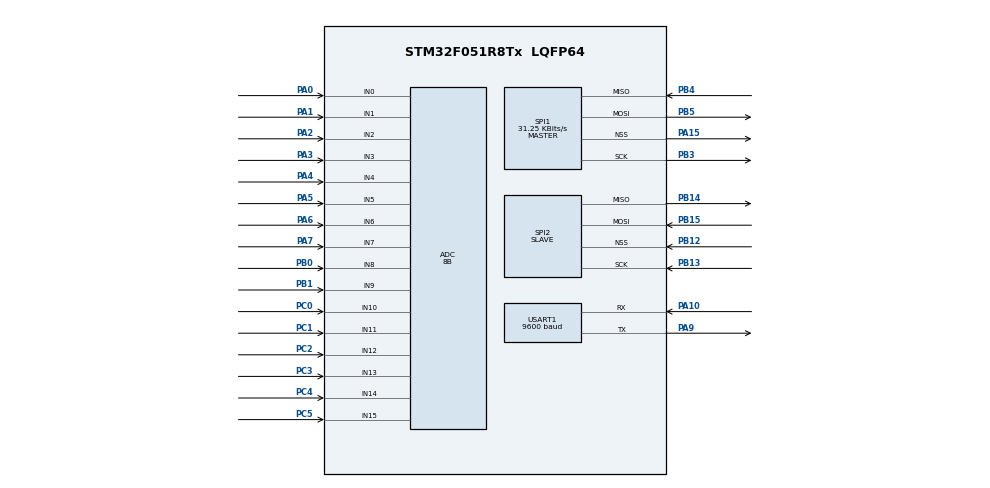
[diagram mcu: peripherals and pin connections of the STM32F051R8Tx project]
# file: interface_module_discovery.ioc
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ADC.ClockPrescaler=ADC_CLOCK_ASYNC_DIV1
ADC.ContinuousConvMode=ENABLE
ADC.DMAContinuousRequests=ENABLE
ADC.DataAlign=ADC_DATAALIGN_RIGHT
ADC.DiscontinuousConvMode=DISABLE
ADC.EOCSelection=ADC_EOC_SINGLE_CONV
ADC.EnableAnalogWatchDog=false
ADC.ExternalTrigConv=ADC_SOFTWARE_START
ADC.ExternalTrigConvEdge=ADC_EXTERNALTRIGCONVEDGE_NONE
ADC.LowPowerAutoPowerOff=DISABLE
ADC.LowPowerAutoWait=DISABLE
ADC.Overrun=ADC_OVR_DATA_PRESERVED
ADC.Resolution=ADC_RESOLUTION_8B
ADC.SamplingTime=ADC_SAMPLETIME_71CYCLES_5
ADC.ScanConvMode=ADC_SCAN_DIRECTION_FORWARD
Dma.ADC.0.Direction=DMA_PERIPH_TO_MEMORY
Dma.ADC.0.Instance=DMA1_Channel1
Dma.ADC.0.MemDataAlignment=DMA_MDATAALIGN_BYTE
Dma.ADC.0.MemInc=DMA_MINC_ENABLE
Dma.ADC.0.Mode=DMA_CIRCULAR
Dma.ADC.0.PeriphDataAlignment=DMA_PDATAALIGN_BYTE
Dma.ADC.0.PeriphInc=DMA_PINC_DISABLE
Dma.ADC.0.Priority=DMA_PRIORITY_HIGH
Dma.Request0=ADC
Dma.Request1=SPI2_RX
Dma.SPI2_RX.1.Direction=DMA_PERIPH_TO_MEMORY
Dma.SPI2_RX.1.Instance=DMA1_Channel4
Dma.SPI2_RX.1.MemDataAlignment=DMA_MDATAALIGN_BYTE
Dma.SPI2_RX.1.MemInc=DMA_MINC_ENABLE
Dma.SPI2_RX.1.Mode=DMA_NORMAL
Dma.SPI2_RX.1.PeriphDataAlignment=DMA_PDATAALIGN_BYTE
Dma.SPI2_RX.1.PeriphInc=DMA_PINC_DISABLE
Dma.SPI2_RX.1.Priority=DMA_PRIORITY_HIGH
Mcu.Family=STM32F0
Mcu.Name=STM32F051R8Tx
Mcu.Package=LQFP64
NVIC.ADC1_COMP_IRQn=true\:1\:0\:true\:false\:true\:true
NVIC.DMA1_Channel1_IRQn=true\:0\:0\:false\:false\:true\:false
NVIC.DMA1_Channel4_5_IRQn=true\:0\:0\:false\:false\:true\:false
NVIC.SPI1_IRQn=true\:0\:0\:false\:false\:true\:true
NVIC.SPI2_IRQn=true\:0\:0\:false\:false\:true\:true
PA0.Mode=IN0
PA0.Signal=ADC_IN0
PA1.Mode=IN1
PA1.Signal=ADC_IN1
PA10.Mode=Asynchronous
PA10.Signal=USART1_RX
PA15.Mode=NSS_Signal_Hard_Output
PA15.Signal=SPI1_NSS
PA2.Mode=IN2
PA2.Signal=ADC_IN2
PA3.Mode=IN3
PA3.Signal=ADC_IN3
PA4.Mode=IN4
PA4.Signal=ADC_IN4
PA5.Mode=IN5
PA5.Signal=ADC_IN5
PA6.Mode=IN6
PA6.Signal=ADC_IN6
PA7.Mode=IN7
PA7.Signal=ADC_IN7
PA9.Mode=Asynchronous
PA9.Signal=USART1_TX
PB0.Mode=IN8
PB0.Signal=ADC_IN8
PB1.Mode=IN9
PB1.Signal=ADC_IN9
PB12.Mode=NSS_Signal_Hard_Input
PB12.Signal=SPI2_NSS
PB13.Mode=Full_Duplex_Slave
PB13.Signal=SPI2_SCK
PB14.Mode=Full_Duplex_Slave
PB14.Signal=SPI2_MISO
PB15.Mode=Full_Duplex_Slave
PB15.Signal=SPI2_MOSI
PB3.Mode=Full_Duplex_Master
PB3.Signal=SPI1_SCK
PB4.Mode=Full_Duplex_Master
PB4.Signal=SPI1_MISO
PB5.Mode=Full_Duplex_Master
PB5.Signal=SPI1_MOSI
PC0.Mode=IN10
PC0.Signal=ADC_IN10
PC1.Mode=IN11
PC1.Signal=ADC_IN11
PC2.Mode=IN12
PC2.Signal=ADC_IN12
PC3.Mode=IN13
PC3.Signal=ADC_IN13
PC4.Mode=IN14
PC4.Signal=ADC_IN14
PC5.Mode=IN15
PC5.Signal=ADC_IN15
ProjectManager.HeapSize=0x200
ProjectManager.StackSize=0x400
ProjectManager.TargetToolchain=MDK-ARM V5
SPI1.BaudRatePrescaler=SPI_BAUDRATEPRESCALER_256
SPI1.CalculateBaudRate=31.25 KBits/s
SPI1.DataSize=SPI_DATASIZE_8BIT
SPI1.Direction=SPI_DIRECTION_2LINES
SPI1.Mode=SPI_MODE_MASTER
SPI1.TIMode=SPI_TIMODE_DISABLE
SPI1.VirtualNSS=VM_NSSHARD
SPI1.VirtualType=VM_MASTER
SPI2.DataSize=SPI_DATASIZE_8BIT
SPI2.Direction=SPI_DIRECTION_2LINES
SPI2.Mode=SPI_MODE_SLAVE
SPI2.VirtualNSS=VM_NSSHARD
SPI2.VirtualType=VM_SLAVE
USART1.BaudRate=9600
USART1.VirtualMode-Asynchronous=VM_ASYNC
board=interface_module_discovery

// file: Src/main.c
/**
  ******************************************************************************
  * File Name          : main.c
  * Description        : Main program body
  ******************************************************************************
  ** This notice applies to any and all portions of this file
  * that are not between comment pairs USER CODE BEGIN and
  * USER CODE END. Other portions of this file, whether
  * inserted by the user or by software development tools
  * are owned by their respective copyright owners.
  *
  * COPYRIGHT(c) 2017 STMicroelectronics
  *
  * Redistribution and use in source and binary forms, with or without modification,
  * are permitted provided that the following conditions are met:
  *   1. Redistributions of source code must retain the above copyright notice,
  *      this list of conditions and the following disclaimer.
  *   2. Redistributions in binary form must reproduce the above copyright notice,
  *      this list of conditions and the following disclaimer in the documentation
  *      and/or other materials provided with the distribution.
  *   3. Neither the name of STMicroelectronics nor the names of its contributors
  *      may be used to endorse or promote products derived from this software
  *      without specific prior written permission.
  *
  * THIS SOFTWARE IS PROVIDED BY THE COPYRIGHT HOLDERS AND CONTRIBUTORS "AS IS"
  * AND ANY EXPRESS OR IMPLIED WARRANTIES, INCLUDING, BUT NOT LIMITED TO, THE
  * IMPLIED WARRANTIES OF MERCHANTABILITY AND FITNESS FOR A PARTICULAR PURPOSE ARE
  * DISCLAIMED. IN NO EVENT SHALL THE COPYRIGHT HOLDER OR CONTRIBUTORS BE LIABLE
  * FOR ANY DIRECT, INDIRECT, INCIDENTAL, SPECIAL, EXEMPLARY, OR CONSEQUENTIAL
  * DAMAGES (INCLUDING, BUT NOT LIMITED TO, PROCUREMENT OF SUBSTITUTE GOODS OR
  * SERVICES; LOSS OF USE, DATA, OR PROFITS; OR BUSINESS INTERRUPTION) HOWEVER
  * CAUSED AND ON ANY THEORY OF LIABILITY, WHETHER IN CONTRACT, STRICT LIABILITY,
  * OR TORT (INCLUDING NEGLIGENCE OR OTHERWISE) ARISING IN ANY WAY OUT OF THE USE
  * OF THIS SOFTWARE, EVEN IF ADVISED OF THE POSSIBILITY OF SUCH DAMAGE.
  *
  ******************************************************************************
  */
#include "main.h"
#include "ring_buffer.h"
#include "stm32f0xx_hal.h"

/* USER CODE BEGIN Includes */
#include <stdbool.h>
#include <stdlib.h>
/* External variables --------------------------------------------------------*/

/* USER CODE END Includes */

ADC_HandleTypeDef hadc;
DMA_HandleTypeDef hdma_adc;

SPI_HandleTypeDef hspi1;
SPI_HandleTypeDef hspi2;
DMA_HandleTypeDef hdma_spi2_rx;

UART_HandleTypeDef huart1;

/* USER CODE BEGIN PV */
/* Private variables ---------------------------------------------------------*/
#define NumOfAdcChan 16 // num of scanned ADC channels
volatile uint8_t AdcDmaBuf[NumOfAdcChan] = {0};
volatile uint8_t SavedValues[NumOfAdcChan] = {0};
ring_buffer_t Slave_RxBuffer;
ring_buffer_t Master_RxBuffer;
uint8_t Master_TxBuffer[64] = {0};
uint8_t Slave_TxBuffer[64] = {0};
uint8_t Slave_RXByte = 0;
uint8_t Master_RXByte = 0;
uint8_t testBuffer[300] = {0};
/* USER CODE END PV */

void SystemClock_Config(void);
static void MX_GPIO_Init(void);
static void MX_DMA_Init(void);
static void MX_SPI1_Init(void);
static void MX_SPI2_Init(void);
static void MX_ADC_Init(void);
static void MX_USART1_UART_Init(void);

/* USER CODE BEGIN PFP */
/* Private function prototypes -----------------------------------------------*/
void HAL_ADC_ConvCpltCallback(ADC_HandleTypeDef* hadc)
{
	static bool firstRun = true;
  /* Prevent unused argument(s) compilation warning */
	if(__HAL_ADC_GET_FLAG(hadc, ADC_FLAG_EOS)){

		for(int i =0; i < NumOfAdcChan; i++){
			if(!firstRun && abs(AdcDmaBuf[i]-SavedValues[i])>2){
				//do something
			}
			SavedValues[i] = AdcDmaBuf[i];
		}
		firstRun = false;
	}
}

void HAL_SPI_TxCpltCallback(SPI_HandleTypeDef *hspi)
{
  uint8_t i = 0;
	i+=1;
}

void HAL_SPI_RxCpltCallback(SPI_HandleTypeDef *hspi)
{
	static uint8_t master_i = 0;
	static int slave_i = 0;
  char buf;
	if(hspi->Instance==SPI1){

	}else if(hspi->Instance==SPI2){
    if(ring_buffer_is_full(&Slave_RxBuffer)) {
      //oh shit
      while(ring_buffer_dequeue(&ring_buffer, &buf) > 0) {
        /* Print contents */
        testBuffer[slave_i++] = buf;
      }
    }else{
      ring_buffer_queue(&Slave_RxBuffer, Slave_RXByte);
    }
		HAL_SPI_Receive_IT(&hspi2, &Slave_RXByte, 1);
	}
}
/* USER CODE END PFP */

int main(void)
{

  /* USER CODE BEGIN 1 */
  int i = 0;

  /* USER CODE END 1 */

  /* MCU Configuration----------------------------------------------------------*/

  /* Reset of all peripherals, Initializes the Flash interface and the Systick. */
  HAL_Init();

  /* USER CODE BEGIN Init */
  ring_buffer_init(&Slave_RxBuffer);
  ring_buffer_init(&Master_RxBuffer);

  /* USER CODE END Init */

  /* Configure the system clock */
  SystemClock_Config();

  /* Initialize all configured peripherals */
  MX_GPIO_Init();
  MX_DMA_Init();
  MX_SPI1_Init();
  MX_SPI2_Init();
  MX_ADC_Init();
  MX_USART1_UART_Init();

  /* USER CODE BEGIN 2 */
	HAL_ADC_Start_DMA(&hadc,(uint32_t *)&AdcDmaBuf, NumOfAdcChan );

	HAL_SPI_Receive_IT(&hspi2, &Slave_RXByte, 1);
	//HAL_SPI_Transmit_IT(&hspi1, (uint8_t*)&Master_TxBuffer, 10);
  /* USER CODE END 2 */

  /* Infinite loop */
  /* USER CODE BEGIN WHILE */
  while (1)
  {
		HAL_Delay(100);
    Master_TxBuffer[0] = i;
    Master_TxBuffer[1] = i+1;
    i+=4;
		HAL_SPI_Transmit_IT(&hspi1, (uint8_t*)&Master_TxBuffer, 2);

  /* USER CODE END WHILE */

  }

}

/** System Clock Configuration
*/
void SystemClock_Config(void)
{

  RCC_OscInitTypeDef RCC_OscInitStruct;
  RCC_ClkInitTypeDef RCC_ClkInitStruct;
  RCC_PeriphCLKInitTypeDef PeriphClkInit;

    /**Initializes the CPU, AHB and APB busses clocks
    */
  RCC_OscInitStruct.OscillatorType = RCC_OSCILLATORTYPE_HSI|RCC_OSCILLATORTYPE_HSI14;
  RCC_OscInitStruct.HSIState = RCC_HSI_ON;
  RCC_OscInitStruct.HSI14State = RCC_HSI14_ON;
  RCC_OscInitStruct.HSICalibrationValue = 16;
  RCC_OscInitStruct.HSI14CalibrationValue = 16;
  RCC_OscInitStruct.PLL.PLLState = RCC_PLL_NONE;
  if (HAL_RCC_OscConfig(&RCC_OscInitStruct) != HAL_OK)
  {
    _Error_Handler(__FILE__, __LINE__);
  }

    /**Initializes the CPU, AHB and APB busses clocks
    */
  RCC_ClkInitStruct.ClockType = RCC_CLOCKTYPE_HCLK|RCC_CLOCKTYPE_SYSCLK
                              |RCC_CLOCKTYPE_PCLK1;
  RCC_ClkInitStruct.SYSCLKSource = RCC_SYSCLKSOURCE_HSI;
  RCC_ClkInitStruct.AHBCLKDivider = RCC_SYSCLK_DIV1;
  RCC_ClkInitStruct.APB1CLKDivider = RCC_HCLK_DIV1;

  if (HAL_RCC_ClockConfig(&RCC_ClkInitStruct, FLASH_LATENCY_0) != HAL_OK)
  {
    _Error_Handler(__FILE__, __LINE__);
  }

  PeriphClkInit.PeriphClockSelection = RCC_PERIPHCLK_USART1;
  PeriphClkInit.Usart1ClockSelection = RCC_USART1CLKSOURCE_PCLK1;
  if (HAL_RCCEx_PeriphCLKConfig(&PeriphClkInit) != HAL_OK)
  {
    _Error_Handler(__FILE__, __LINE__);
  }

    /**Configure the Systick interrupt time
    */
  HAL_SYSTICK_Config(HAL_RCC_GetHCLKFreq()/1000);

    /**Configure the Systick
    */
  HAL_SYSTICK_CLKSourceConfig(SYSTICK_CLKSOURCE_HCLK);

  /* SysTick_IRQn interrupt configuration */
  HAL_NVIC_SetPriority(SysTick_IRQn, 0, 0);
}

/* ADC init function */
static void MX_ADC_Init(void)
{

  ADC_ChannelConfTypeDef sConfig;

    /**Configure the global features of the ADC (Clock, Resolution, Data Alignment and number of conversion)
    */
  hadc.Instance = ADC1;
  hadc.Init.ClockPrescaler = ADC_CLOCK_ASYNC_DIV1;
  hadc.Init.Resolution = ADC_RESOLUTION_8B;
  hadc.Init.DataAlign = ADC_DATAALIGN_RIGHT;
  hadc.Init.ScanConvMode = ADC_SCAN_DIRECTION_FORWARD;
  hadc.Init.EOCSelection = ADC_EOC_SINGLE_CONV;
  hadc.Init.LowPowerAutoWait = DISABLE;
  hadc.Init.LowPowerAutoPowerOff = DISABLE;
  hadc.Init.ContinuousConvMode = ENABLE;
  hadc.Init.DiscontinuousConvMode = DISABLE;
  hadc.Init.ExternalTrigConv = ADC_SOFTWARE_START;
  hadc.Init.ExternalTrigConvEdge = ADC_EXTERNALTRIGCONVEDGE_NONE;
  hadc.Init.DMAContinuousRequests = ENABLE;
  hadc.Init.Overrun = ADC_OVR_DATA_PRESERVED;
  if (HAL_ADC_Init(&hadc) != HAL_OK)
  {
    _Error_Handler(__FILE__, __LINE__);
  }

    /**Configure for the selected ADC regular channel to be converted.
    */
  sConfig.Channel = ADC_CHANNEL_0;
  sConfig.Rank = ADC_RANK_CHANNEL_NUMBER;
  sConfig.SamplingTime = ADC_SAMPLETIME_71CYCLES_5;
  if (HAL_ADC_ConfigChannel(&hadc, &sConfig) != HAL_OK)
  {
    _Error_Handler(__FILE__, __LINE__);
  }

    /**Configure for the selected ADC regular channel to be converted.
    */
  sConfig.Channel = ADC_CHANNEL_1;
  if (HAL_ADC_ConfigChannel(&hadc, &sConfig) != HAL_OK)
  {
    _Error_Handler(__FILE__, __LINE__);
  }

    /**Configure for the selected ADC regular channel to be converted.
    */
  sConfig.Channel = ADC_CHANNEL_2;
  if (HAL_ADC_ConfigChannel(&hadc, &sConfig) != HAL_OK)
  {
    _Error_Handler(__FILE__, __LINE__);
  }

    /**Configure for the selected ADC regular channel to be converted.
    */
  sConfig.Channel = ADC_CHANNEL_3;
  if (HAL_ADC_ConfigChannel(&hadc, &sConfig) != HAL_OK)
  {
    _Error_Handler(__FILE__, __LINE__);
  }

    /**Configure for the selected ADC regular channel to be converted.
    */
  sConfig.Channel = ADC_CHANNEL_4;
  if (HAL_ADC_ConfigChannel(&hadc, &sConfig) != HAL_OK)
  {
    _Error_Handler(__FILE__, __LINE__);
  }

    /**Configure for the selected ADC regular channel to be converted.
    */
  sConfig.Channel = ADC_CHANNEL_5;
  if (HAL_ADC_ConfigChannel(&hadc, &sConfig) != HAL_OK)
  {
    _Error_Handler(__FILE__, __LINE__);
  }

    /**Configure for the selected ADC regular channel to be converted.
    */
  sConfig.Channel = ADC_CHANNEL_6;
  if (HAL_ADC_ConfigChannel(&hadc, &sConfig) != HAL_OK)
  {
    _Error_Handler(__FILE__, __LINE__);
  }

    /**Configure for the selected ADC regular channel to be converted.
    */
  sConfig.Channel = ADC_CHANNEL_7;
  if (HAL_ADC_ConfigChannel(&hadc, &sConfig) != HAL_OK)
  {
    _Error_Handler(__FILE__, __LINE__);
  }

    /**Configure for the selected ADC regular channel to be converted.
    */
  sConfig.Channel = ADC_CHANNEL_8;
  if (HAL_ADC_ConfigChannel(&hadc, &sConfig) != HAL_OK)
  {
    _Error_Handler(__FILE__, __LINE__);
  }

    /**Configure for the selected ADC regular channel to be converted.
    */
  sConfig.Channel = ADC_CHANNEL_9;
  if (HAL_ADC_ConfigChannel(&hadc, &sConfig) != HAL_OK)
  {
    _Error_Handler(__FILE__, __LINE__);
  }

    /**Configure for the selected ADC regular channel to be converted.
    */
  sConfig.Channel = ADC_CHANNEL_10;
  if (HAL_ADC_ConfigChannel(&hadc, &sConfig) != HAL_OK)
  {
    _Error_Handler(__FILE__, __LINE__);
  }

    /**Configure for the selected ADC regular channel to be converted.
    */
  sConfig.Channel = ADC_CHANNEL_11;
  if (HAL_ADC_ConfigChannel(&hadc, &sConfig) != HAL_OK)
  {
    _Error_Handler(__FILE__, __LINE__);
  }

    /**Configure for the selected ADC regular channel to be converted.
    */
  sConfig.Channel = ADC_CHANNEL_12;
  if (HAL_ADC_ConfigChannel(&hadc, &sConfig) != HAL_OK)
  {
    _Error_Handler(__FILE__, __LINE__);
  }

    /**Configure for the selected ADC regular channel to be converted.
    */
  sConfig.Channel = ADC_CHANNEL_13;
  if (HAL_ADC_ConfigChannel(&hadc, &sConfig) != HAL_OK)
  {
    _Error_Handler(__FILE__, __LINE__);
  }

    /**Configure for the selected ADC regular channel to be converted.
    */
  sConfig.Channel = ADC_CHANNEL_14;
  if (HAL_ADC_ConfigChannel(&hadc, &sConfig) != HAL_OK)
  {
    _Error_Handler(__FILE__, __LINE__);
  }

    /**Configure for the selected ADC regular channel to be converted.
    */
  sConfig.Channel = ADC_CHANNEL_15;
  if (HAL_ADC_ConfigChannel(&hadc, &sConfig) != HAL_OK)
  {
    _Error_Handler(__FILE__, __LINE__);
  }

}

/* SPI1 init function */
static void MX_SPI1_Init(void)
{

  /* SPI1 parameter configuration*/
  hspi1.Instance = SPI1;
  hspi1.Init.Mode = SPI_MODE_MASTER;
  hspi1.Init.Direction = SPI_DIRECTION_2LINES;
  hspi1.Init.DataSize = SPI_DATASIZE_8BIT;
  hspi1.Init.CLKPolarity = SPI_POLARITY_LOW;
  hspi1.Init.CLKPhase = SPI_PHASE_1EDGE;
  hspi1.Init.NSS = SPI_NSS_HARD_OUTPUT;
  hspi1.Init.BaudRatePrescaler = SPI_BAUDRATEPRESCALER_256;
  hspi1.Init.FirstBit = SPI_FIRSTBIT_MSB;
  hspi1.Init.TIMode = SPI_TIMODE_DISABLE;
  hspi1.Init.CRCCalculation = SPI_CRCCALCULATION_DISABLE;
  hspi1.Init.CRCPolynomial = 7;
  hspi1.Init.CRCLength = SPI_CRC_LENGTH_DATASIZE;
  hspi1.Init.NSSPMode = SPI_NSS_PULSE_ENABLE;
  if (HAL_SPI_Init(&hspi1) != HAL_OK)
  {
    _Error_Handler(__FILE__, __LINE__);
  }

}

/* SPI2 init function */
static void MX_SPI2_Init(void)
{

  /* SPI2 parameter configuration*/
  hspi2.Instance = SPI2;
  hspi2.Init.Mode = SPI_MODE_SLAVE;
  hspi2.Init.Direction = SPI_DIRECTION_2LINES;
  hspi2.Init.DataSize = SPI_DATASIZE_8BIT;
  hspi2.Init.CLKPolarity = SPI_POLARITY_LOW;
  hspi2.Init.CLKPhase = SPI_PHASE_1EDGE;
  hspi2.Init.NSS = SPI_NSS_HARD_INPUT;
  hspi2.Init.FirstBit = SPI_FIRSTBIT_MSB;
  hspi2.Init.TIMode = SPI_TIMODE_DISABLE;
  hspi2.Init.CRCCalculation = SPI_CRCCALCULATION_DISABLE;
  hspi2.Init.CRCPolynomial = 7;
  hspi2.Init.CRCLength = SPI_CRC_LENGTH_DATASIZE;
  hspi2.Init.NSSPMode = SPI_NSS_PULSE_DISABLE;
  if (HAL_SPI_Init(&hspi2) != HAL_OK)
  {
    _Error_Handler(__FILE__, __LINE__);
  }

}

/* USART1 init function */
static void MX_USART1_UART_Init(void)
{

  huart1.Instance = USART1;
  huart1.Init.BaudRate = 9600;
  huart1.Init.WordLength = UART_WORDLENGTH_8B;
  huart1.Init.StopBits = UART_STOPBITS_1;
  huart1.Init.Parity = UART_PARITY_NONE;
  huart1.Init.Mode = UART_MODE_TX_RX;
  huart1.Init.HwFlowCtl = UART_HWCONTROL_NONE;
  huart1.Init.OverSampling = UART_OVERSAMPLING_16;
  huart1.Init.OneBitSampling = UART_ONE_BIT_SAMPLE_DISABLE;
  huart1.AdvancedInit.AdvFeatureInit = UART_ADVFEATURE_NO_INIT;
  if (HAL_UART_Init(&huart1) != HAL_OK)
  {
    _Error_Handler(__FILE__, __LINE__);
  }

}

static void MX_DMA_Init(void)
{
  /* DMA controller clock enable */
  __HAL_RCC_DMA1_CLK_ENABLE();

  /* DMA interrupt init */
  /* DMA1_Channel1_IRQn interrupt configuration */
  HAL_NVIC_SetPriority(DMA1_Channel1_IRQn, 0, 0);
  HAL_NVIC_EnableIRQ(DMA1_Channel1_IRQn);
  /* DMA1_Channel4_5_IRQn interrupt configuration */
  HAL_NVIC_SetPriority(DMA1_Channel4_5_IRQn, 0, 0);
  HAL_NVIC_EnableIRQ(DMA1_Channel4_5_IRQn);

}

/** Pinout Configuration
*/
static void MX_GPIO_Init(void)
{

  /* GPIO Ports Clock Enable */
  __HAL_RCC_GPIOC_CLK_ENABLE();
  __HAL_RCC_GPIOA_CLK_ENABLE();
  __HAL_RCC_GPIOB_CLK_ENABLE();

}

void _Error_Handler(char * file, int line)
{
  while(1)
  {
  }
}

/************************ (C) COPYRIGHT STMicroelectronics *****END OF FILE****/
